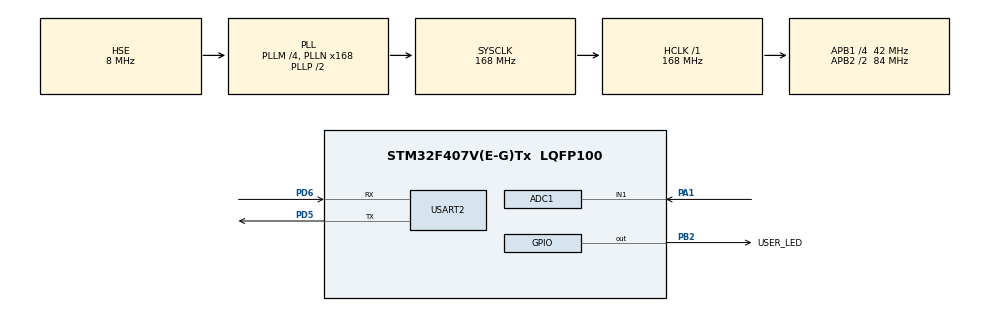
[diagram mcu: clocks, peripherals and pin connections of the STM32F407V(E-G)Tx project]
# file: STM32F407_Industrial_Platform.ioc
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ADC1.Channel-0\#ChannelRegularConversion=ADC_CHANNEL_1
ADC1.DMAContinuousRequests=ENABLE
ADC1.ExternalTrigConv=ADC_EXTERNALTRIGCONV_T2_TRGO
ADC1.NbrOfConversion=1
ADC1.NbrOfConversionFlag=1
ADC1.Rank-0\#ChannelRegularConversion=1
ADC1.SamplingTime-0\#ChannelRegularConversion=ADC_SAMPLETIME_84CYCLES
ADC1.master=1
Dma.ADC1.0.Direction=DMA_PERIPH_TO_MEMORY
Dma.ADC1.0.FIFOMode=DMA_FIFOMODE_DISABLE
Dma.ADC1.0.Instance=DMA2_Stream0
Dma.ADC1.0.MemDataAlignment=DMA_MDATAALIGN_HALFWORD
Dma.ADC1.0.MemInc=DMA_MINC_ENABLE
Dma.ADC1.0.Mode=DMA_CIRCULAR
Dma.ADC1.0.PeriphDataAlignment=DMA_PDATAALIGN_HALFWORD
Dma.ADC1.0.PeriphInc=DMA_PINC_DISABLE
Dma.ADC1.0.Priority=DMA_PRIORITY_LOW
Dma.Request0=ADC1
FREERTOS.Tasks01=HeartBeatTask,24,128,StartHeartBeatTask,Default,NULL,Dynamic,NULL,NULL;UARTTask,24,256,StartUARTTask,Default,NULL,Dynamic,NULL,NULL;AcquisitionTask,32,256,StartAcquisitionTask,Default,NULL,Dynamic,NULL,NULL
Mcu.Family=STM32F4
Mcu.Name=STM32F407V(E-G)Tx
Mcu.Package=LQFP100
NVIC.DMA2_Stream0_IRQn=true\:5\:0\:false\:false\:true\:true\:false\:true\:true
NVIC.PriorityGroup=NVIC_PRIORITYGROUP_4
NVIC.TIM6_DAC_IRQn=true\:15\:0\:false\:false\:true\:false\:false\:true\:true
NVIC.TIM7_IRQn=true\:5\:0\:false\:false\:true\:true\:true\:true\:true
NVIC.TimeBase=TIM6_DAC_IRQn
NVIC.TimeBaseIP=TIM6
PA1.Signal=ADCx_IN1
PA13.Mode=Serial_Wire
PA13.Signal=SYS_JTMS-SWDIO
PA14.Mode=Serial_Wire
PA14.Signal=SYS_JTCK-SWCLK
PB2.GPIO_Label=USER_LED
PB2.Signal=GPIO_Output
PD5.Mode=Asynchronous
PD5.Signal=USART2_TX
PD6.Mode=Asynchronous
PD6.Signal=USART2_RX
PH0-OSC_IN.Mode=HSE-External-Oscillator
PH0-OSC_IN.Signal=RCC_OSC_IN
PH1-OSC_OUT.Mode=HSE-External-Oscillator
PH1-OSC_OUT.Signal=RCC_OSC_OUT
ProjectManager.HeapSize=0x200
ProjectManager.StackSize=0x400
ProjectManager.TargetToolchain=CMake
RCC.48MHZClocksFreq_Value=84000000
RCC.AHBFreq_Value=168000000
RCC.APB1CLKDivider=RCC_HCLK_DIV4
RCC.APB1Freq_Value=42000000
RCC.APB1TimFreq_Value=84000000
RCC.APB2CLKDivider=RCC_HCLK_DIV2
RCC.APB2Freq_Value=84000000
RCC.APB2TimFreq_Value=168000000
RCC.CortexFreq_Value=168000000
RCC.HCLKFreq_Value=168000000
RCC.HSE_VALUE=8000000
RCC.HSI_VALUE=16000000
RCC.LSE_VALUE=32768
RCC.PLLM=4
RCC.PLLN=168
RCC.PLLSourceVirtual=RCC_PLLSOURCE_HSE
RCC.SYSCLKFreq_VALUE=168000000
RCC.SYSCLKSource=RCC_SYSCLKSOURCE_PLLCLK
RCC.VCOOutputFreq_Value=336000000
SH.ADCx_IN1.0=ADC1_IN1,IN1
TIM2.Period=199
TIM2.Prescaler=8399
TIM2.TIM_MasterOutputTrigger=TIM_TRGO_UPDATE
TIM7.AutoReloadPreload=TIM_AUTORELOAD_PRELOAD_ENABLE
TIM7.Period=999
TIM7.Prescaler=8399
USART2.VirtualMode=VM_ASYNC
VP_FREERTOS_VS_CMSIS_V2.Mode=CMSIS_V2
VP_SYS_VS_tim6.Mode=TIM6
VP_TIM2_VS_ClockSourceINT.Mode=Internal
VP_TIM7_VS_ClockSourceINT.Mode=Enable_Timer
board=custom

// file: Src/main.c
/* USER CODE BEGIN Header */
/**
  ******************************************************************************
  * @file           : main.c
  * @brief          : Main program body
  ******************************************************************************
  * @attention
  *
  * Copyright (c) 2026 STMicroelectronics.
  * All rights reserved.
  *
  * This software is licensed under terms that can be found in the LICENSE file
  * in the root directory of this software component.
  * If no LICENSE file comes with this software, it is provided AS-IS.
  *
  ******************************************************************************
  */
/* USER CODE END Header */
#include "main.h"
#include "cmsis_os.h"
#include "adc.h"
#include "dma.h"
#include "tim.h"
#include "usart.h"
#include "gpio.h"

/* USER CODE BEGIN Includes */
#include "m4_isr.h"
/* USER CODE END Includes */

void SystemClock_Config(void);
void MX_FREERTOS_Init(void);

int main(void)
{

  /* MCU Configuration--------------------------------------------------------*/

  /* Reset of all peripherals, Initializes the Flash interface and the Systick. */
  HAL_Init();

  /* Configure the system clock */
  SystemClock_Config();

  /* Initialize all configured peripherals */
  MX_GPIO_Init();
  MX_DMA_Init();
  MX_USART2_UART_Init();
  MX_TIM7_Init();
  MX_ADC1_Init();
  MX_TIM2_Init();

  /* Init scheduler */
  osKernelInitialize();  /* Call init function for freertos objects (in cmsis_os2.c) */
  MX_FREERTOS_Init();

  /* Start scheduler */
  osKernelStart();

  /* We should never get here as control is now taken by the scheduler */

  /* Infinite loop */
  while (1)
  {

  }
}

void SystemClock_Config(void)
{
  RCC_OscInitTypeDef RCC_OscInitStruct = {0};
  RCC_ClkInitTypeDef RCC_ClkInitStruct = {0};

  /** Configure the main internal regulator output voltage
  */
  __HAL_RCC_PWR_CLK_ENABLE();
  __HAL_PWR_VOLTAGESCALING_CONFIG(PWR_REGULATOR_VOLTAGE_SCALE1);

  /** Initializes the RCC Oscillators according to the specified parameters
  * in the RCC_OscInitTypeDef structure.
  */
  RCC_OscInitStruct.OscillatorType = RCC_OSCILLATORTYPE_HSE;
  RCC_OscInitStruct.HSEState = RCC_HSE_ON;
  RCC_OscInitStruct.PLL.PLLState = RCC_PLL_ON;
  RCC_OscInitStruct.PLL.PLLSource = RCC_PLLSOURCE_HSE;
  RCC_OscInitStruct.PLL.PLLM = 4;
  RCC_OscInitStruct.PLL.PLLN = 168;
  RCC_OscInitStruct.PLL.PLLP = RCC_PLLP_DIV2;
  RCC_OscInitStruct.PLL.PLLQ = 4;
  if (HAL_RCC_OscConfig(&RCC_OscInitStruct) != HAL_OK)
  {
    Error_Handler();
  }

  /** Initializes the CPU, AHB and APB buses clocks
  */
  RCC_ClkInitStruct.ClockType = RCC_CLOCKTYPE_HCLK|RCC_CLOCKTYPE_SYSCLK
                              |RCC_CLOCKTYPE_PCLK1|RCC_CLOCKTYPE_PCLK2;
  RCC_ClkInitStruct.SYSCLKSource = RCC_SYSCLKSOURCE_PLLCLK;
  RCC_ClkInitStruct.AHBCLKDivider = RCC_SYSCLK_DIV1;
  RCC_ClkInitStruct.APB1CLKDivider = RCC_HCLK_DIV4;
  RCC_ClkInitStruct.APB2CLKDivider = RCC_HCLK_DIV2;

  if (HAL_RCC_ClockConfig(&RCC_ClkInitStruct, FLASH_LATENCY_5) != HAL_OK)
  {
    Error_Handler();
  }
}

void HAL_TIM_PeriodElapsedCallback(TIM_HandleTypeDef *htim)
{
  if (htim->Instance == TIM6)
  {
    HAL_IncTick();
  }
  /* USER CODE BEGIN Callback 1 */
  if (htim->Instance == TIM7)
  {
    M4ISR_OnTim7ElapsedFromISR();
  }
  /* USER CODE END Callback 1 */
}

void Error_Handler(void)
{
  __disable_irq();
  while (1)
  {
  }
}

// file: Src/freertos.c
/* USER CODE BEGIN Header */
/**
  ******************************************************************************
  * File Name          : freertos.c
  * Description        : Code for freertos applications
  ******************************************************************************
  * @attention
  *
  * Copyright (c) 2026 STMicroelectronics.
  * All rights reserved.
  *
  * This software is licensed under terms that can be found in the LICENSE file
  * in the root directory of this software component.
  * If no LICENSE file comes with this software, it is provided AS-IS.
  *
  ******************************************************************************
  */
/* USER CODE END Header */

#include "FreeRTOS.h"
#include "task.h"
#include "main.h"
#include "cmsis_os.h"

/* USER CODE BEGIN Includes */
#include "usart.h"
#include "debug_log.h"
#include "m4_ipc.h"
#include "ring_buffer.h"
#include "m4_isr.h"
#include "adc.h"
#include "tim.h"
#include <stdatomic.h>
#include <stdint.h>
#include <stddef.h>
#include <stdio.h>
#if defined(M4_ENABLE_SPSC_TEST)
#include "m4_spsc_test.h"
#endif
/* USER CODE END Includes */

/* USER CODE BEGIN PD */
#define ADC_FLAG_HALF (1UL << 0)
#define ADC_FLAG_FULL (1UL << 1)
/* USER CODE END PD */

/* USER CODE BEGIN Variables */
#define ADC_BUFFER_SIZE 20U

static uint16_t adc_buffer[ADC_BUFFER_SIZE];
volatile uint32_t voltage = 0;

volatile uint32_t adc_half_count = 0U;
volatile uint32_t adc_full_count = 0U;
volatile uint32_t adc_error_count = 0U;
volatile uint32_t adc_half_processed = 0U;
volatile uint32_t adc_full_processed = 0U;
volatile uint32_t adc_half_tick = 0U;
volatile uint32_t adc_full_tick = 0U;
volatile uint32_t adc_late_count = 0U;

/* USER CODE END Variables */
/* Definitions for HeartBeatTask */
osThreadId_t HeartBeatTaskHandle;
const osThreadAttr_t HeartBeatTask_attributes = {
  .name = "HeartBeatTask",
  .stack_size = 128 * 4,
  .priority = (osPriority_t) osPriorityNormal,
};
/* Definitions for UARTTask */
osThreadId_t UARTTaskHandle;
const osThreadAttr_t UARTTask_attributes = {
  .name = "UARTTask",
  .stack_size = 256 * 4,
  .priority = (osPriority_t) osPriorityNormal,
};
/* Definitions for AcquisitionTask */
osThreadId_t AcquisitionTaskHandle;
const osThreadAttr_t AcquisitionTask_attributes = {
  .name = "AcquisitionTask",
  .stack_size = 256 * 4,
  .priority = (osPriority_t) osPriorityAboveNormal,
};

void StartHeartBeatTask(void *argument);
void StartUARTTask(void *argument);
void StartAcquisitionTask(void *argument);

void MX_FREERTOS_Init(void); /* (MISRA C 2004 rule 8.1) */

void MX_FREERTOS_Init(void) {

  /* USER CODE BEGIN RTOS_MUTEX */
  /* add mutexes, ... */
  if (DebugLog_Init(&huart2) != DEBUG_LOG_OK)
  {
      Error_Handler();
  }
  /* USER CODE END RTOS_MUTEX */

  /* Create the thread(s) */
  /* creation of HeartBeatTask */
  HeartBeatTaskHandle = osThreadNew(StartHeartBeatTask, NULL, &HeartBeatTask_attributes);

  /* creation of UARTTask */
  UARTTaskHandle = osThreadNew(StartUARTTask, NULL, &UARTTask_attributes);

  /* creation of AcquisitionTask */
  AcquisitionTaskHandle = osThreadNew(StartAcquisitionTask, NULL, &AcquisitionTask_attributes);

  /* USER CODE BEGIN RTOS_THREADS */
  /* add threads, ... */
#if defined(M4_ENABLE_SPSC_TEST)
  if (M4SpscTest_Init() != M4_SPSC_OK)
  {
      Error_Handler();
  }
#endif
  /* USER CODE END RTOS_THREADS */

}

void StartHeartBeatTask(void *argument)
{
  /* USER CODE BEGIN StartHeartBeatTask */
  /* Infinite loop */
  for(;;)
  {
    HAL_GPIO_TogglePin(GPIOB, USER_LED_Pin);
    osDelay(500U);
  }
  /* USER CODE END StartHeartBeatTask */
}

void StartUARTTask(void *argument)
{
  /* USER CODE BEGIN StartUARTTask */
  static uint32_t stack_sample_count = 0U;
  /* Infinite loop */
  for(;;)
  {

    /*
    检测剩余栈与运行状态
    */
    stack_sample_count ++;

    if(stack_sample_count % 10 == 0U)
    {
      uint32_t heartbeat_stack_free;
      uint32_t uart_stack_free;

      size_t heap_free;
      size_t heap_min_free;
      heartbeat_stack_free = osThreadGetStackSpace(HeartBeatTaskHandle);
      uart_stack_free = osThreadGetStackSpace(UARTTaskHandle);

      heap_free = xPortGetFreeHeapSize();
      heap_min_free = xPortGetMinimumEverFreeHeapSize();
      LOG_INFO("UART", "USART2 TX OK");
      LOG_INFO("SYS",
         "HeartFree=%lu B UARTFree=%lu B ",
         (unsigned long)heartbeat_stack_free,
         (unsigned long)uart_stack_free);

      LOG_INFO("SYS",
         "Heap=%lu B MinHeap=%lu B",
         (unsigned long)heap_free,
         (unsigned long)heap_min_free);
      LOG_INFO("ADC",
         "Voltage=%lu mV Error=%lu",
         (unsigned long)voltage,
         (unsigned long)adc_error_count);

      LOG_INFO("DMA",
         "Half=%lu/%lu Full=%lu/%lu",
         (unsigned long)adc_half_processed,
         (unsigned long)adc_half_count,
         (unsigned long)adc_full_processed,
         (unsigned long)adc_full_count);

      LOG_INFO("DMA", "Late=%lu",
         (unsigned long)adc_late_count);

#if defined(M4_ENABLE_SPSC_TEST)
      LOG_INFO(
            "SYS",
            "SpscPFree=%lu B SpscCFree=%lu B",
            (unsigned long)M4SpscTest_GetProducerStackFree(),
            (unsigned long)M4SpscTest_GetConsumerStackFree());
#endif
    }
    osDelay(1000U);
  }
  /* USER CODE END StartUARTTask */
}

void StartAcquisitionTask(void *argument)
{
  /* USER CODE BEGIN StartAcquisitionTask */
  uint32_t flag;
  uint32_t sum = 0U;
  uint32_t adc_average = 0U;
  if (HAL_ADC_Start_DMA(
    &hadc1,
    (uint32_t *)adc_buffer,
    ADC_BUFFER_SIZE) != HAL_OK)
  {
      Error_Handler();
  }

  if (HAL_TIM_Base_Start(&htim2) != HAL_OK)
  {
      Error_Handler();
  }
  /* Infinite loop */
  for(;;)
  {
    flag = osThreadFlagsWait(ADC_FLAG_HALF | ADC_FLAG_FULL,
                                      osFlagsWaitAny,
                                      osWaitForever);

    if ((flag & osFlagsError) != 0U)
    {
        Error_Handler();
    }

    if ((flag & ADC_FLAG_HALF) != 0U)
    {
        if (osKernelGetTickCount() - adc_half_tick >= 200U)
        {
            adc_late_count++;
        }
        sum = 0U;

        for(int i = 0; i < 10; i++)
        {
            sum += adc_buffer[i];
        }
        adc_half_processed++;

        adc_average = sum / 10U;
        voltage = (adc_average * 3300U + 2047U) / 4095U;
    }

    if ((flag & ADC_FLAG_FULL) != 0U)
    {
        if (osKernelGetTickCount() - adc_full_tick >= 200U)
        {
            adc_late_count++;
        }
        sum = 0U;

        for(int i = 10; i < 20; i++)
        {
            sum += adc_buffer[i];
        }
        adc_full_processed++;

        adc_average = sum / 10U;
        voltage = (adc_average * 3300U + 2047U) / 4095U;
    }

  }
  /* USER CODE END StartAcquisitionTask */
}

/* USER CODE BEGIN Application */
void HAL_ADC_ConvHalfCpltCallback(ADC_HandleTypeDef *hadc)
{
    if(hadc->Instance == ADC1)
    {
        adc_half_count++;
        adc_half_tick = osKernelGetTickCount();
        if(AcquisitionTaskHandle != NULL)
        {
            osThreadFlagsSet(AcquisitionTaskHandle,
                            ADC_FLAG_HALF);
        }
    }

}

void HAL_ADC_ConvCpltCallback(ADC_HandleTypeDef *hadc)
{
    if (hadc->Instance == ADC1)
    {
        adc_full_count++;
        adc_full_tick = osKernelGetTickCount();
        if(AcquisitionTaskHandle != NULL)
        {
            osThreadFlagsSet(AcquisitionTaskHandle,
                             ADC_FLAG_FULL);
        }
    }
}

void HAL_ADC_ErrorCallback(ADC_HandleTypeDef *hadc)
{
    if (hadc->Instance == ADC1)
    {

        adc_error_count++;
    }
}
/* USER CODE END Application */
